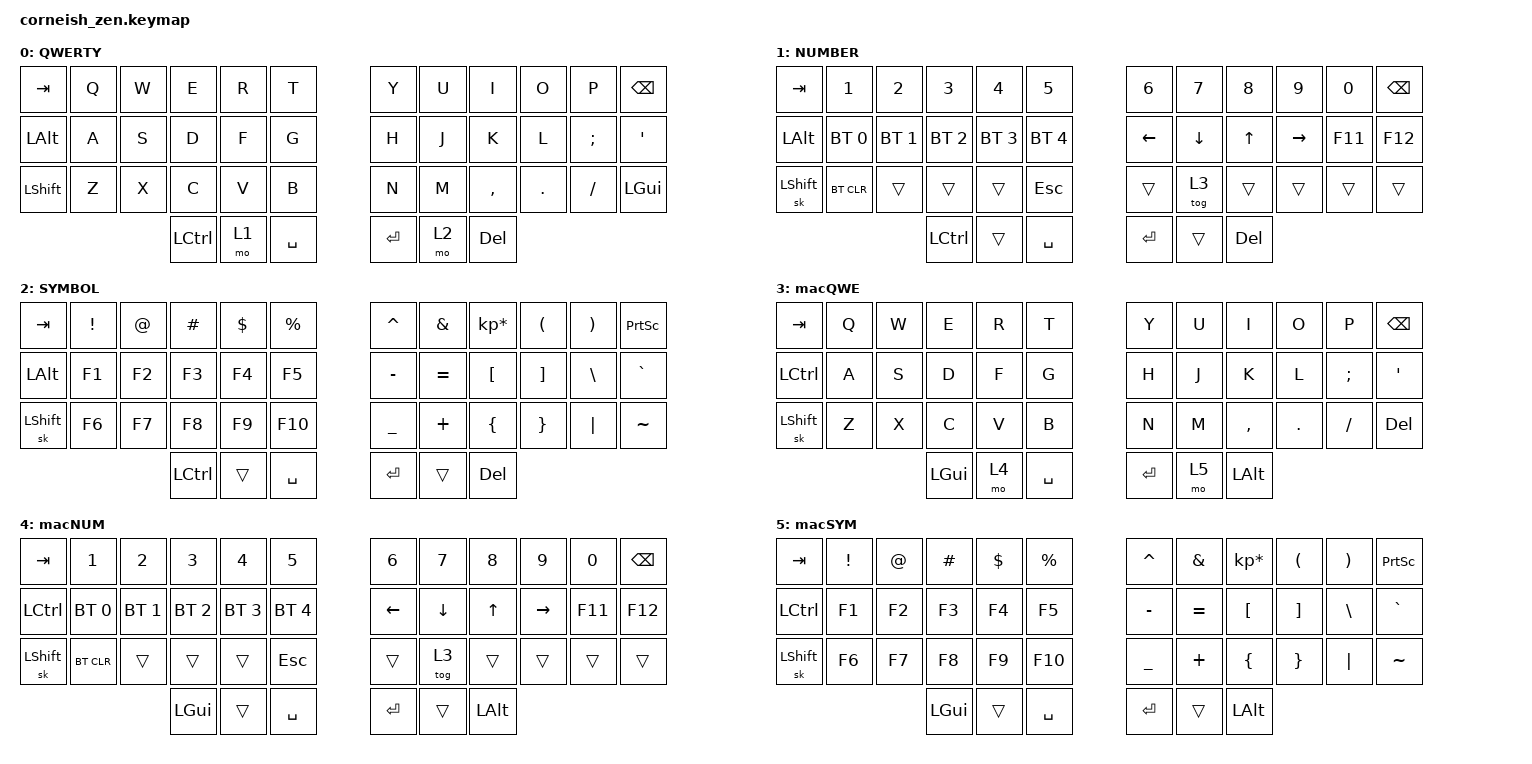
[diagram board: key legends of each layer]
#include <behaviors.dtsi>
#include <dt-bindings/zmk/keys.h>
#include <dt-bindings/zmk/bt.h>

/ {
  chosen {
    zmk,matrix_transform = &default_transform;
    //zmk,matrix_transform = &five_column_transform;
  };
};

/ {
        keymap {
                compatible = "zmk,keymap";

                default_layer {
                        label = "QWERTY";

                        bindings = <
   &kp TAB   &kp Q &kp W &kp E &kp R &kp T   &kp Y &kp U  &kp I     &kp O   &kp P    &kp BSPC
   &kp LALT  &kp A &kp S &kp D &kp F &kp G   &kp H &kp J  &kp K     &kp L   &kp SEMI &kp SQT
   &kp LSHFT &kp Z &kp X &kp C &kp V &kp B   &kp N &kp M  &kp COMMA &kp DOT &kp FSLH &kp LGUI
                 &kp LCTRL &mo 1 &kp SPACE   &kp RET &mo 2 &kp DEL
                        >;
                };

                lower_layer {
                        label = "NUMBER";

                        bindings = <
   &kp TAB    &kp N1       &kp N2       &kp N3       &kp N4       &kp N5         &kp N6   &kp N7   &kp N8 &kp N9    &kp N0  &kp BSPC
   &kp LALT   &bt BT_SEL 0 &bt BT_SEL 1 &bt BT_SEL 2 &bt BT_SEL 3 &bt BT_SEL 4   &kp LEFT &kp DOWN &kp UP &kp RIGHT &kp F11 &kp F12
   &sk LSHFT  &bt BT_CLR   &trans       &trans       &trans       &kp ESC        &trans   &tog 3   &trans &trans    &trans  &trans
                          	            &kp LCTRL    &trans       &kp SPACE      &kp RET  &trans   &kp DEL
                        >;
                };

                raise_layer {
                        label = "SYMBOL";

                        bindings = <
   &kp  TAB  &kp EXCL &kp AT &kp HASH &kp DLLR &kp PRCNT   &kp CARET &kp AMPS  &kp KP_MULTIPLY &kp LPAR &kp RPAR &kp PSCRN
   &kp LALT  &kp F1   &kp F2 &kp F3   &kp F4   &kp F5      &kp MINUS &kp EQUAL &kp LBKT        &kp RBKT &kp BSLH &kp GRAVE
   &sk LSHFT &kp F6   &kp F7 &kp F8   &kp F9   &kp F10     &kp UNDER &kp PLUS  &kp LBRC        &kp RBRC &kp PIPE &kp TILDE
                    	    &kp LCTRL   &trans   &kp SPACE   &kp RET   &trans    &kp DEL
                        >;
                };

                mac_layer {
                        label = "macQWE";

                        bindings = <
   &kp TAB   &kp Q &kp W &kp E &kp R &kp T   &kp Y &kp U  &kp I     &kp O   &kp P    &kp BSPC
   &kp LCTRL &kp A &kp S &kp D &kp F &kp G   &kp H &kp J  &kp K     &kp L   &kp SEMI &kp SQT
   &sk LSHFT &kp Z &kp X &kp C &kp V &kp B   &kp N &kp M  &kp COMMA &kp DOT &kp FSLH &kp DEL
                 &kp LGUI &mo 4  &kp SPACE   &kp RET &mo 5 &kp LALT
                        >;
                };

                mac_lower_layer {
                        label = "macNUM";

                        bindings = <
   &kp TAB    &kp N1       &kp N2       &kp N3       &kp N4       &kp N5         &kp N6   &kp N7   &kp N8 &kp N9    &kp N0  &kp BSPC
   &kp LCTRL  &bt BT_SEL 0 &bt BT_SEL 1 &bt BT_SEL 2 &bt BT_SEL 3 &bt BT_SEL 4   &kp LEFT &kp DOWN &kp UP &kp RIGHT &kp F11 &kp F12
   &sk LSHFT  &bt BT_CLR   &trans       &trans       &trans       &kp ESC        &trans   &tog 3   &trans &trans    &trans  &trans
                          	          &kp LGUI       &trans       &kp SPACE      &kp RET  &trans   &kp LALT
                        >;
                };

                mac_raise_layer {
                        label = "macSYM";

                        bindings = <
   &kp  TAB  &kp EXCL &kp AT &kp HASH &kp DLLR &kp PRCNT   &kp CARET &kp AMPS  &kp KP_MULTIPLY &kp LPAR &kp RPAR &kp PSCRN
   &kp LCTRL &kp F1   &kp F2 &kp F3   &kp F4   &kp F5      &kp MINUS &kp EQUAL &kp LBKT        &kp RBKT &kp BSLH &kp GRAVE
   &sk LSHFT &kp F6   &kp F7 &kp F8   &kp F9   &kp F10     &kp UNDER &kp PLUS  &kp LBRC        &kp RBRC &kp PIPE &kp TILDE
                    	      &kp LGUI  &trans   &kp SPACE   &kp RET   &trans    &kp LALT
                        >;
                };
        };
};
